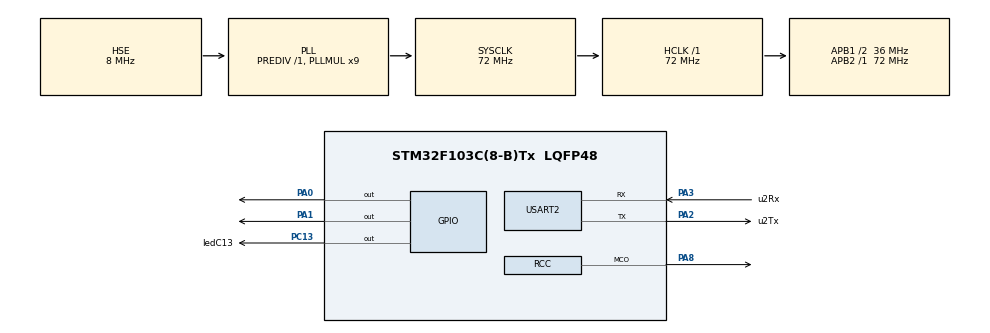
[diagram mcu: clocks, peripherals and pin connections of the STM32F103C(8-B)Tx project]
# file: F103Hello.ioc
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FREERTOS.Tasks01=defaultTask,0,128,StartDefaultTask,Default,NULL,Dynamic,NULL,NULL;Task2,0,128,Task2init,Default,NULL,Dynamic,NULL,NULL
FREERTOS.configUSE_NEWLIB_REENTRANT=1
Mcu.Family=STM32F1
Mcu.Name=STM32F103C(8-B)Tx
Mcu.Package=LQFP48
NVIC.PriorityGroup=NVIC_PRIORITYGROUP_4
NVIC.TIM1_UP_IRQn=true\:15\:0\:false\:false\:true\:false\:false\:true\:true
NVIC.TIM3_IRQn=true\:5\:0\:false\:false\:true\:true\:true\:true\:true
NVIC.TimeBase=TIM1_UP_IRQn
NVIC.TimeBaseIP=TIM1
NVIC.USART2_IRQn=true\:5\:0\:false\:false\:true\:true\:true\:true\:true
PA0-WKUP.Signal=GPIO_Output
PA1.Signal=GPIO_Output
PA2.GPIO_Label=u2Tx
PA2.Mode=Asynchronous
PA2.Signal=USART2_TX
PA3.GPIO_Label=u2Rx
PA3.Mode=Asynchronous
PA3.Signal=USART2_RX
PA8.Mode=Clock-out
PA8.Signal=RCC_MCO
PC13-TAMPER-RTC.GPIO_Label=ledC13
PC13-TAMPER-RTC.Signal=GPIO_Output
PD0-OSC_IN.Mode=HSE-External-Oscillator
PD0-OSC_IN.Signal=RCC_OSC_IN
PD1-OSC_OUT.Mode=HSE-External-Oscillator
PD1-OSC_OUT.Signal=RCC_OSC_OUT
ProjectManager.HeapSize=0x200
ProjectManager.StackSize=0x400
ProjectManager.TargetToolchain=STM32CubeIDE
RCC.AHBFreq_Value=72000000
RCC.APB1CLKDivider=RCC_HCLK_DIV2
RCC.APB1Freq_Value=36000000
RCC.APB1TimFreq_Value=72000000
RCC.APB2Freq_Value=72000000
RCC.APB2TimFreq_Value=72000000
RCC.HCLKFreq_Value=72000000
RCC.PLLMUL=RCC_PLL_MUL9
RCC.PLLSourceVirtual=RCC_PLLSOURCE_HSE
RCC.RCC_MCOSource=RCC_MCO1SOURCE_PLLCLK
RCC.SYSCLKFreq_VALUE=72000000
RCC.SYSCLKSource=RCC_SYSCLKSOURCE_PLLCLK
RCC.USBFreq_Value=72000000
TIM3.Period=50
TIM3.Prescaler=71
USART2.VirtualMode=VM_ASYNC
VP_FREERTOS_VS_CMSIS_V1.Mode=CMSIS_V1
VP_SYS_VS_tim1.Mode=TIM1
VP_TIM3_VS_ClockSourceINT.Mode=Internal
board=custom

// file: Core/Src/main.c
/* USER CODE BEGIN Header */
/**
  ******************************************************************************
  * @file           : main.c
  * @brief          : Main program body
  ******************************************************************************
  * @attention
  *
  * Copyright (c) 2025 STMicroelectronics.
  * All rights reserved.
  *
  * This software is licensed under terms that can be found in the LICENSE file
  * in the root directory of this software component.
  * If no LICENSE file comes with this software, it is provided AS-IS.
  *
  ******************************************************************************
  */
/* USER CODE END Header */
#include "main.h"
#include "cmsis_os.h"

/* USER CODE BEGIN Includes */
#include <stdio.h>
#include <string.h>
/* USER CODE END Includes */

TIM_HandleTypeDef htim3;

UART_HandleTypeDef huart2;

osThreadId defaultTaskHandle;
osThreadId Task2Handle;
/* USER CODE BEGIN PV */
osThreadId Task3Handle;
/* USER CODE END PV */

void SystemClock_Config(void);
static void MX_GPIO_Init(void);
static void MX_USART2_UART_Init(void);
static void MX_TIM3_Init(void);
void StartDefaultTask(void const * argument);
void Task2init(void const * argument);

/* USER CODE BEGIN PFP */
void Task3init(void const * argument);
/* USER CODE END PFP */

/* USER CODE BEGIN 0 */
void SendDT(unsigned int val )
{
	char str [64];
	sprintf (str, "1234567890Hello from DefTask#:%d\n", val);
	HAL_UART_Transmit(&huart2, (uint8_t*) str, sizeof(str), 500);
//	printf("Hello, I am DefTAsk %d", val);
}

void SendT2(unsigned int val )
{
	char str [64];
	sprintf (str, "=======9876543210====Hello from task2#:%d\n", val);
	HAL_UART_Transmit(&huart2, (uint8_t*) str, sizeof(str), 500);
//	printf("Hello, I am T2 %d", val);
}

void SendT3(unsigned int val )
{
	char str [64];
	sprintf (str, "*****XXXX******Hello from task3#:%d\n", val);
	HAL_UART_Transmit(&huart2, (uint8_t*) str, sizeof(str), 500);
//	printf("Hello, I am T3 %d", val);
}

/* USER CODE END 0 */

int main(void)
{

  /* MCU Configuration--------------------------------------------------------*/

  /* Reset of all peripherals, Initializes the Flash interface and the Systick. */
  HAL_Init();

  /* Configure the system clock */
  SystemClock_Config();

  /* Initialize all configured peripherals */
  MX_GPIO_Init();
  MX_USART2_UART_Init();
  MX_TIM3_Init();

  /* Create the thread(s) */
  /* definition and creation of defaultTask */
  osThreadDef(defaultTask, StartDefaultTask, osPriorityNormal, 0, 128);
  defaultTaskHandle = osThreadCreate(osThread(defaultTask), NULL);

  /* definition and creation of Task2 */
  osThreadDef(Task2, Task2init, osPriorityNormal, 0, 128);
  Task2Handle = osThreadCreate(osThread(Task2), NULL);

  /* USER CODE BEGIN RTOS_THREADS */
  /* add threads, ... */
  osThreadDef(Task3, Task3init, osPriorityNormal, 0, 128);
  Task3Handle = osThreadCreate(osThread(Task3), NULL);
  /* USER CODE END RTOS_THREADS */

  /* Start scheduler */
  osKernelStart();

  /* We should never get here as control is now taken by the scheduler */
  /* Infinite loop */
  while (1)
  {

  }
}

void SystemClock_Config(void)
{
  RCC_OscInitTypeDef RCC_OscInitStruct = {0};
  RCC_ClkInitTypeDef RCC_ClkInitStruct = {0};

  /** Initializes the RCC Oscillators according to the specified parameters
  * in the RCC_OscInitTypeDef structure.
  */
  RCC_OscInitStruct.OscillatorType = RCC_OSCILLATORTYPE_HSE;
  RCC_OscInitStruct.HSEState = RCC_HSE_ON;
  RCC_OscInitStruct.HSEPredivValue = RCC_HSE_PREDIV_DIV1;
  RCC_OscInitStruct.HSIState = RCC_HSI_ON;
  RCC_OscInitStruct.PLL.PLLState = RCC_PLL_ON;
  RCC_OscInitStruct.PLL.PLLSource = RCC_PLLSOURCE_HSE;
  RCC_OscInitStruct.PLL.PLLMUL = RCC_PLL_MUL9;
  if (HAL_RCC_OscConfig(&RCC_OscInitStruct) != HAL_OK)
  {
    Error_Handler();
  }

  /** Initializes the CPU, AHB and APB buses clocks
  */
  RCC_ClkInitStruct.ClockType = RCC_CLOCKTYPE_HCLK|RCC_CLOCKTYPE_SYSCLK
                              |RCC_CLOCKTYPE_PCLK1|RCC_CLOCKTYPE_PCLK2;
  RCC_ClkInitStruct.SYSCLKSource = RCC_SYSCLKSOURCE_PLLCLK;
  RCC_ClkInitStruct.AHBCLKDivider = RCC_SYSCLK_DIV1;
  RCC_ClkInitStruct.APB1CLKDivider = RCC_HCLK_DIV2;
  RCC_ClkInitStruct.APB2CLKDivider = RCC_HCLK_DIV1;

  if (HAL_RCC_ClockConfig(&RCC_ClkInitStruct, FLASH_LATENCY_2) != HAL_OK)
  {
    Error_Handler();
  }
  HAL_RCC_MCOConfig(RCC_MCO, RCC_MCO1SOURCE_PLLCLK, RCC_MCODIV_1);
}

static void MX_TIM3_Init(void)
{

  TIM_ClockConfigTypeDef sClockSourceConfig = {0};
  TIM_MasterConfigTypeDef sMasterConfig = {0};

  htim3.Instance = TIM3;
  htim3.Init.Prescaler = 71;
  htim3.Init.CounterMode = TIM_COUNTERMODE_UP;
  htim3.Init.Period = 50;
  htim3.Init.ClockDivision = TIM_CLOCKDIVISION_DIV1;
  htim3.Init.AutoReloadPreload = TIM_AUTORELOAD_PRELOAD_DISABLE;
  if (HAL_TIM_Base_Init(&htim3) != HAL_OK)
  {
    Error_Handler();
  }
  sClockSourceConfig.ClockSource = TIM_CLOCKSOURCE_INTERNAL;
  if (HAL_TIM_ConfigClockSource(&htim3, &sClockSourceConfig) != HAL_OK)
  {
    Error_Handler();
  }
  sMasterConfig.MasterOutputTrigger = TIM_TRGO_RESET;
  sMasterConfig.MasterSlaveMode = TIM_MASTERSLAVEMODE_DISABLE;
  if (HAL_TIMEx_MasterConfigSynchronization(&htim3, &sMasterConfig) != HAL_OK)
  {
    Error_Handler();
  }

}

static void MX_USART2_UART_Init(void)
{

  huart2.Instance = USART2;
  huart2.Init.BaudRate = 115200;
  huart2.Init.WordLength = UART_WORDLENGTH_8B;
  huart2.Init.StopBits = UART_STOPBITS_1;
  huart2.Init.Parity = UART_PARITY_NONE;
  huart2.Init.Mode = UART_MODE_TX_RX;
  huart2.Init.HwFlowCtl = UART_HWCONTROL_NONE;
  huart2.Init.OverSampling = UART_OVERSAMPLING_16;
  if (HAL_UART_Init(&huart2) != HAL_OK)
  {
    Error_Handler();
  }

}

static void MX_GPIO_Init(void)
{
  GPIO_InitTypeDef GPIO_InitStruct = {0};

  /* GPIO Ports Clock Enable */
  __HAL_RCC_GPIOC_CLK_ENABLE();
  __HAL_RCC_GPIOD_CLK_ENABLE();
  __HAL_RCC_GPIOA_CLK_ENABLE();

  /*Configure GPIO pin Output Level */
  HAL_GPIO_WritePin(ledC13_GPIO_Port, ledC13_Pin, GPIO_PIN_RESET);

  /*Configure GPIO pin Output Level */
  HAL_GPIO_WritePin(GPIOA, GPIO_PIN_0|GPIO_PIN_1, GPIO_PIN_RESET);

  /*Configure GPIO pin : ledC13_Pin */
  GPIO_InitStruct.Pin = ledC13_Pin;
  GPIO_InitStruct.Mode = GPIO_MODE_OUTPUT_PP;
  GPIO_InitStruct.Pull = GPIO_NOPULL;
  GPIO_InitStruct.Speed = GPIO_SPEED_FREQ_LOW;
  HAL_GPIO_Init(ledC13_GPIO_Port, &GPIO_InitStruct);

  /*Configure GPIO pins : PA0 PA1 */
  GPIO_InitStruct.Pin = GPIO_PIN_0|GPIO_PIN_1;
  GPIO_InitStruct.Mode = GPIO_MODE_OUTPUT_PP;
  GPIO_InitStruct.Pull = GPIO_NOPULL;
  GPIO_InitStruct.Speed = GPIO_SPEED_FREQ_LOW;
  HAL_GPIO_Init(GPIOA, &GPIO_InitStruct);

  /*Configure GPIO pin : PA8 */
  GPIO_InitStruct.Pin = GPIO_PIN_8;
  GPIO_InitStruct.Mode = GPIO_MODE_AF_PP;
  GPIO_InitStruct.Speed = GPIO_SPEED_FREQ_LOW;
  HAL_GPIO_Init(GPIOA, &GPIO_InitStruct);

}

/* USER CODE BEGIN 4 */
void Task3init(void const * argument)
{
  static unsigned int  counter = 0;
  for(;;)
  {
	  SendT3(counter++);
	  HAL_GPIO_TogglePin(GPIOC, GPIO_PIN_13);
	  osDelay(899);
//    osDelay(1);
  }

}
/* USER CODE END 4 */

void StartDefaultTask(void const * argument)
{
  /* USER CODE BEGIN 5 */
	static unsigned int  counter = 0;
  /* Infinite loop */
  for(;;)
  {
	 SendDT(counter++);
	  HAL_GPIO_TogglePin(GPIOA, GPIO_PIN_1);
//	  HAL_Delay(2);
	  osDelay(955);
  }
  /* USER CODE END 5 */
}

void Task2init(void const * argument)
{
  /* USER CODE BEGIN Task2init */
	static unsigned int  counter = 0;
  /* Infinite loop */
  for(;;)
  {
	  SendT2(counter++);
	  HAL_GPIO_TogglePin(GPIOA, GPIO_PIN_0);
	  osDelay(700);
//    osDelay(1);
  }
  /* USER CODE END Task2init */
}

void HAL_TIM_PeriodElapsedCallback(TIM_HandleTypeDef *htim)
{
  if (htim->Instance == TIM1) {
    HAL_IncTick();
  }
}

void Error_Handler(void)
{
  __disable_irq();
  while (1)
  {
  }
}
